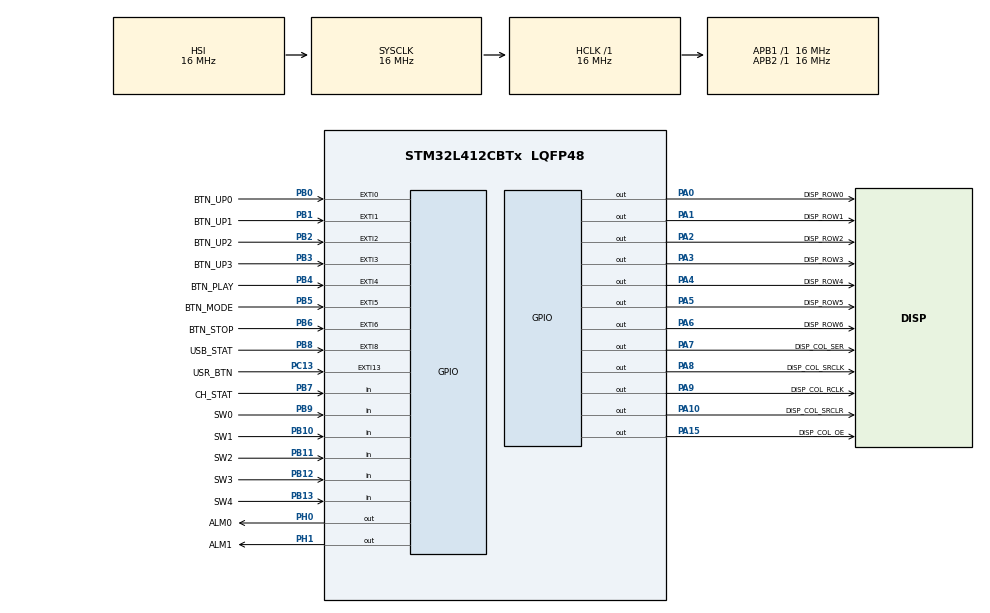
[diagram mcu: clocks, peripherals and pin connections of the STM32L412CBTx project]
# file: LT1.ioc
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Mcu.Family=STM32L4
Mcu.Name=STM32L412CBTx
Mcu.Package=LQFP48
NVIC.EXTI0_IRQn=true\:0\:0\:false\:false\:true\:true\:true\:true
NVIC.EXTI15_10_IRQn=true\:0\:0\:false\:false\:true\:true\:true\:true
NVIC.EXTI1_IRQn=true\:0\:0\:false\:false\:true\:true\:true\:true
NVIC.EXTI2_IRQn=true\:0\:0\:false\:false\:true\:true\:true\:true
NVIC.EXTI3_IRQn=true\:0\:0\:false\:false\:true\:true\:true\:true
NVIC.EXTI4_IRQn=true\:0\:0\:false\:false\:true\:true\:true\:true
NVIC.EXTI9_5_IRQn=true\:0\:0\:false\:false\:true\:true\:true\:true
NVIC.LPTIM1_IRQn=true\:0\:0\:false\:false\:true\:true\:true\:true
NVIC.PriorityGroup=NVIC_PRIORITYGROUP_4
PA0.GPIO_Label=DISP_ROW0
PA0.GPIO_Speed=GPIO_SPEED_FREQ_HIGH
PA0.Signal=GPIO_Output
PA1.GPIO_Label=DISP_ROW1
PA1.GPIO_Speed=GPIO_SPEED_FREQ_HIGH
PA1.Signal=GPIO_Output
PA10.GPIO_Label=DISP_COL_SRCLR
PA10.GPIO_Speed=GPIO_SPEED_FREQ_HIGH
PA10.Signal=GPIO_Output
PA13\ (JTMS/SWDIO).Mode=Serial_Wire
PA13\ (JTMS/SWDIO).Signal=SYS_JTMS-SWDIO
PA14\ (JTCK/SWCLK).Mode=Serial_Wire
PA14\ (JTCK/SWCLK).Signal=SYS_JTCK-SWCLK
PA15\ (JTDI).GPIO_Label=DISP_COL_OE
PA15\ (JTDI).GPIO_Speed=GPIO_SPEED_FREQ_HIGH
PA15\ (JTDI).Signal=GPIO_Output
PA2.GPIO_Label=DISP_ROW2
PA2.GPIO_Speed=GPIO_SPEED_FREQ_HIGH
PA2.Signal=GPIO_Output
PA3.GPIO_Label=DISP_ROW3
PA3.GPIO_Speed=GPIO_SPEED_FREQ_HIGH
PA3.Signal=GPIO_Output
PA4.GPIO_Label=DISP_ROW4
PA4.GPIO_Speed=GPIO_SPEED_FREQ_HIGH
PA4.Signal=GPIO_Output
PA5.GPIO_Label=DISP_ROW5
PA5.GPIO_Speed=GPIO_SPEED_FREQ_HIGH
PA5.Signal=GPIO_Output
PA6.GPIO_Label=DISP_ROW6
PA6.GPIO_Speed=GPIO_SPEED_FREQ_HIGH
PA6.Signal=GPIO_Output
PA7.GPIO_Label=DISP_COL_SER
PA7.GPIO_Speed=GPIO_SPEED_FREQ_HIGH
PA7.Signal=GPIO_Output
PA8.GPIO_Label=DISP_COL_SRCLK
PA8.GPIO_Speed=GPIO_SPEED_FREQ_HIGH
PA8.Signal=GPIO_Output
PA9.GPIO_Label=DISP_COL_RCLK
PA9.GPIO_Speed=GPIO_SPEED_FREQ_HIGH
PA9.Signal=GPIO_Output
PB0.GPIO_Label=BTN_UP0
PB0.GPIO_PuPd=GPIO_PULLUP
PB0.Signal=GPXTI0
PB1.GPIO_Label=BTN_UP1
PB1.GPIO_PuPd=GPIO_PULLUP
PB1.Signal=GPXTI1
PB10.GPIO_Label=SW1
PB10.GPIO_PuPd=GPIO_PULLDOWN
PB10.Signal=GPIO_Input
PB11.GPIO_Label=SW2
PB11.GPIO_PuPd=GPIO_PULLDOWN
PB11.Signal=GPIO_Input
PB12.GPIO_Label=SW3
PB12.GPIO_PuPd=GPIO_PULLDOWN
PB12.Signal=GPIO_Input
PB13.GPIO_Label=SW4
PB13.GPIO_PuPd=GPIO_PULLDOWN
PB13.Signal=GPIO_Input
PB2.GPIO_Label=BTN_UP2
PB2.GPIO_PuPd=GPIO_PULLUP
PB2.Signal=GPXTI2
PB3\ (JTDO/TRACESWO).GPIO_Label=BTN_UP3
PB3\ (JTDO/TRACESWO).GPIO_PuPd=GPIO_PULLUP
PB3\ (JTDO/TRACESWO).Signal=GPXTI3
PB4\ (NJTRST).GPIO_Label=BTN_PLAY
PB4\ (NJTRST).GPIO_PuPd=GPIO_PULLUP
PB4\ (NJTRST).Signal=GPXTI4
PB5.GPIO_Label=BTN_MODE
PB5.GPIO_PuPd=GPIO_PULLUP
PB5.Signal=GPXTI5
PB6.GPIO_Label=BTN_STOP
PB6.GPIO_PuPd=GPIO_PULLUP
PB6.Signal=GPXTI6
PB7.GPIO_Label=CH_STAT
PB7.Signal=GPIO_Input
PB8.GPIO_Label=USB_STAT
PB8.Signal=GPXTI8
PB9.GPIO_Label=SW0
PB9.GPIO_PuPd=GPIO_PULLDOWN
PB9.Signal=GPIO_Input
PC13.GPIO_Label=USR_BTN
PC13.Signal=GPXTI13
PH0-OSC_IN\ (PH0).GPIO_Label=ALM0
PH0-OSC_IN\ (PH0).Signal=GPIO_Output
PH1-OSC_OUT\ (PH1).GPIO_Label=ALM1
PH1-OSC_OUT\ (PH1).Signal=GPIO_Output
ProjectManager.HeapSize=0x200
ProjectManager.StackSize=0x400
ProjectManager.TargetToolchain=STM32CubeIDE
RCC.ADCFreq_Value=16000000
RCC.AHBFreq_Value=16000000
RCC.APB1Freq_Value=16000000
RCC.APB1TimFreq_Value=16000000
RCC.APB2Freq_Value=16000000
RCC.APB2TimFreq_Value=16000000
RCC.CK48CLockSelection=RCC_USBCLKSOURCE_HSI48
RCC.CortexFreq_Value=16000000
RCC.HCLKFreq_Value=16000000
RCC.HSE_VALUE=8000000
RCC.HSI48_VALUE=48000000
RCC.HSI_VALUE=16000000
RCC.LPTIM1CLockSelection=RCC_LPTIM1CLKSOURCE_LSI
RCC.LSE_VALUE=32768
RCC.MSIClockRange=RCC_MSIRANGE_11
RCC.MSI_VALUE=48000000
RCC.PLLN=10
RCC.PLLSourceVirtual=RCC_PLLSOURCE_HSI
RCC.SYSCLKFreq_VALUE=16000000
RCC.SYSCLKSource=RCC_SYSCLKSOURCE_HSI
RCC.USBFreq_Value=48000000
RCC.VCOOutputFreq_Value=160000000
VP_LPTIM1_VS_LPTIM_counterModeInternalClock.Mode=Counts__internal_clock_event_00
board=custom

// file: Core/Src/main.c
/* USER CODE BEGIN Header */
/**
  ******************************************************************************
  * @file           : main.c
  * @brief          : Main program body
  ******************************************************************************
  * @attention
  *
  * Copyright (c) 2023 STMicroelectronics.
  * All rights reserved.
  *
  * This software is licensed under terms that can be found in the LICENSE file
  * in the root directory of this software component.
  * If no LICENSE file comes with this software, it is provided AS-IS.
  *
  ******************************************************************************
  */
/* USER CODE END Header */
#include "main.h"
#include "lptim.h"
#include "gpio.h"

/* USER CODE BEGIN Includes */
#include "display.h"
#include "mainapp.h"
#include "timer1app.h"
/* USER CODE END Includes */

void SystemClock_Config(void);

/* USER CODE BEGIN 0 */
volatile uint32_t global_events;
/* USER CODE END 0 */

int main(void)
{
  /* USER CODE BEGIN 1 */
	static uint32_t local_events;
  /* USER CODE END 1 */

  /* MCU Configuration--------------------------------------------------------*/

  /* Reset of all peripherals, Initializes the Flash interface and the Systick. */
  HAL_Init();

  /* Configure the system clock */
  SystemClock_Config();

  /* Initialize all configured peripherals */
  MX_GPIO_Init();
  MX_LPTIM1_Init();
  /* USER CODE BEGIN 2 */
  display_Init();
  lptim_Start();
  gpio_StartPolling();

  //display_ShowString("Lego#1234!");
  //display_ShowBuffer(pattern, pattern_len);
  display_On();

  mainapp_Init();
  mainapp_Start();

  uint32_t tim_nr = 0;
  //lptim_AddRepeatingEvent(32768/8/2/2/2, EV_BLINK2);
  uint32_t cnt_tim = 100;
  /* USER CODE END 2 */

  /* Infinite loop */
  while (1)
  {

    /* USER CODE BEGIN 3 */
	  if(local_events & EV_DISPLAY_UPDATE) {
		  display_Update();
	  }
	  if(local_events & EV_GPIO_POLL) {
		  gpio_PollInputs();
		  if(gpio_hasAnyButtonChanged() == TRUE) {
			  local_events |= EV_BUTTON_PRESSED;
		  }
	  }

	  if(local_events) {
		  mainapp_ProcessEvents(local_events);
	  }

	  while(1) {
		  // ATOMIC: disable INT until enter sleep ! -> attention: possible dead lock
		  __disable_irq();
		  local_events = global_events;
		  global_events = 0;
		  if(local_events) {
			  __enable_irq();
			  break;
		  }

		  HAL_PWR_EnableSleepOnExit();
		  __enable_irq();
		  HAL_PWR_EnterSLEEPMode(PWR_LOWPOWERREGULATOR_ON, PWR_SLEEPENTRY_WFI);
	  }
  }
  /* USER CODE END 3 */
}

void SystemClock_Config(void)
{
  RCC_OscInitTypeDef RCC_OscInitStruct = {0};
  RCC_ClkInitTypeDef RCC_ClkInitStruct = {0};

  /** Configure the main internal regulator output voltage
  */
  if (HAL_PWREx_ControlVoltageScaling(PWR_REGULATOR_VOLTAGE_SCALE1) != HAL_OK)
  {
    Error_Handler();
  }

  /** Initializes the RCC Oscillators according to the specified parameters
  * in the RCC_OscInitTypeDef structure.
  */
  RCC_OscInitStruct.OscillatorType = RCC_OSCILLATORTYPE_HSI|RCC_OSCILLATORTYPE_LSI;
  RCC_OscInitStruct.HSIState = RCC_HSI_ON;
  RCC_OscInitStruct.HSICalibrationValue = RCC_HSICALIBRATION_DEFAULT;
  RCC_OscInitStruct.LSIState = RCC_LSI_ON;
  RCC_OscInitStruct.PLL.PLLState = RCC_PLL_NONE;
  if (HAL_RCC_OscConfig(&RCC_OscInitStruct) != HAL_OK)
  {
    Error_Handler();
  }

  /** Initializes the CPU, AHB and APB buses clocks
  */
  RCC_ClkInitStruct.ClockType = RCC_CLOCKTYPE_HCLK|RCC_CLOCKTYPE_SYSCLK
                              |RCC_CLOCKTYPE_PCLK1|RCC_CLOCKTYPE_PCLK2;
  RCC_ClkInitStruct.SYSCLKSource = RCC_SYSCLKSOURCE_HSI;
  RCC_ClkInitStruct.AHBCLKDivider = RCC_SYSCLK_DIV1;
  RCC_ClkInitStruct.APB1CLKDivider = RCC_HCLK_DIV1;
  RCC_ClkInitStruct.APB2CLKDivider = RCC_HCLK_DIV1;

  if (HAL_RCC_ClockConfig(&RCC_ClkInitStruct, FLASH_LATENCY_0) != HAL_OK)
  {
    Error_Handler();
  }
}

void Error_Handler(void)
{
  __disable_irq();
  while (1)
  {
  }
}
